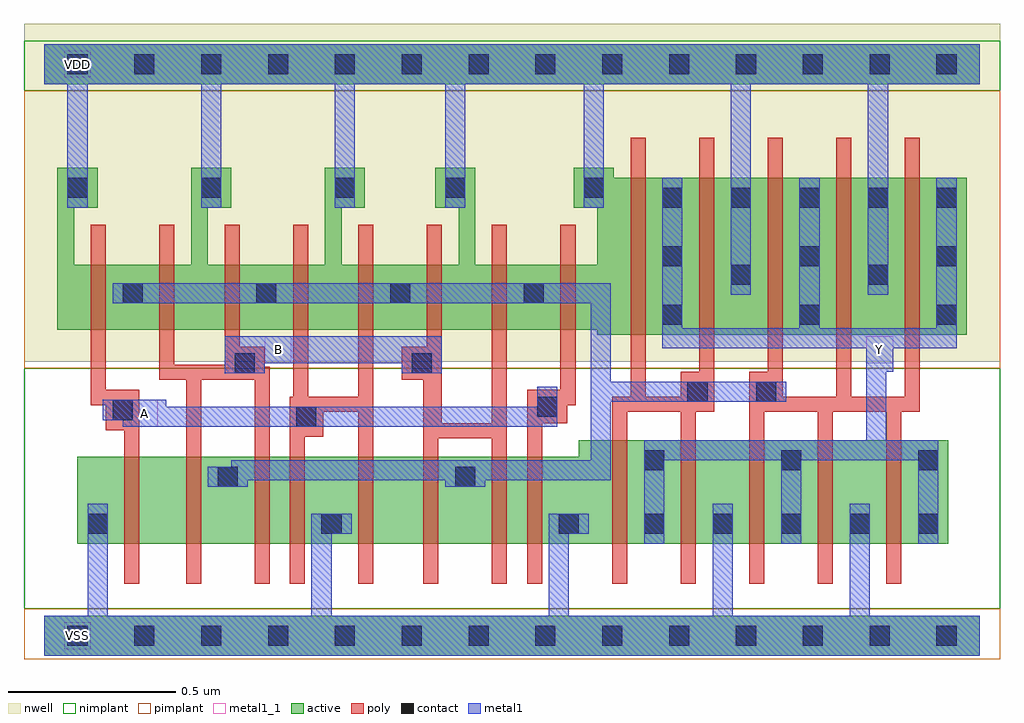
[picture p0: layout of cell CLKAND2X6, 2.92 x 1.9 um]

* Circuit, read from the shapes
.subckt CLKAND2X6 A B VDD VSS Y
M1 n1 A VSS VSS nfet w=0.26u l=0.045u
M2 n2 B n1 VSS nfet w=0.26u l=0.045u
M3 n3 B n2 VSS nfet w=0.26u l=0.045u
M4 VSS A n3 VSS nfet w=0.26u l=0.045u
M5 n4 A VSS VSS nfet w=0.26u l=0.045u
M6 n2 B n4 VSS nfet w=0.26u l=0.045u
M7 n5 B n2 VSS nfet w=0.26u l=0.045u
M8 VSS A n5 VSS nfet w=0.26u l=0.045u
M9 Y n2 VSS VSS nfet w=0.31u l=0.045u m=5
M10 n2 A VDD VDD pfet w=0.195u l=0.045u m=4
M11 VDD B n2 VDD pfet w=0.195u l=0.045u m=4
M12 Y n2 VDD VDD pfet w=0.47u l=0.045u m=5
.ends

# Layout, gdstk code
import gdstk
lib = gdstk.Library(unit=1e-6, precision=5e-10)
def R(c, l, rs):  # rectangles x0, y0, x1, y1
    for r in rs: c.add(gdstk.rectangle(r[:2], r[2:], *l))
def A(c, l, x, y, w, h, nx, ny, dx, dy):  # array of equal rectangles
    R(c, l, [(x+i*dx, y+j*dy, x+i*dx+w, y+j*dy+h) for i in range(nx) for j in range(ny)])
def P(c, l, *ps):  # polygons
    for p in ps: c.add(gdstk.Polygon(p, *l))
active = (1, 0)
nwell = (2, 0)
poly = (3, 0)
nimplant = (4, 0)
pimplant = (5, 0)
contact = (6, 0)
metal1 = (7, 0)
metal1_1 = (7, 1)

clkand2x6 = lib.new_cell('CLKAND2X6')
R(clkand2x6, active, [(0,-0.06,2.8,0.06), (0,1.65,2.8,1.77)])
P(clkand2x6, active, [(0.04,1.4),(0.16,1.4),(0.16,1.28),(0.09,1.28),(0.09,1.11),(0.44,1.11),(0.44,1.4),(0.56,1.4),(0.56,1.28),(0.49,1.28),(0.49,1.11),(0.84,1.11),(0.84,1.4),(0.96,1.4),(0.96,1.28),(0.89,1.28),(0.89,1.11),(1.24,1.11),(1.24,1.28),(1.17,1.28),(1.17,1.4),(1.29,1.4),(1.29,1.11),(1.655,1.11),(1.655,1.28),(1.585,1.28),(1.585,1.4),(1.705,1.4),(1.705,1.37),(2.76,1.37),(2.76,0.9),(1.655,0.9),(1.655,0.915),(0.04,0.915)],
  [(1.6,0.585),(2.705,0.585),(2.705,0.275),(0.1,0.275),(0.1,0.535),(1.6,0.535)])
R(clkand2x6, nwell, [(-0.06,0.82,2.86,1.83)])
P(clkand2x6, poly, [(1.755,1.49),(1.8,1.49),(1.8,0.715),(1.905,0.715),(1.905,0.79),(1.96,0.79),(1.96,1.49),(2.005,1.49),(2.005,0.67),(1.95,0.67),(1.95,0.155),(1.905,0.155),(1.905,0.67),(1.745,0.67),(1.745,0.155),(1.7,0.155),(1.7,0.715),(1.755,0.715)],
  [(2.165,1.49),(2.21,1.49),(2.21,0.715),(2.37,0.715),(2.37,1.49),(2.415,1.49),(2.415,0.715),(2.575,0.715),(2.575,1.49),(2.62,1.49),(2.62,0.67),(2.565,0.67),(2.565,0.155),(2.52,0.155),(2.52,0.67),(2.36,0.67),(2.36,0.155),(2.315,0.155),(2.315,0.67),(2.155,0.67),(2.155,0.155),(2.11,0.155),(2.11,0.79),(2.165,0.79)],
  [(0.14,1.23),(0.185,1.23),(0.185,0.735),(0.285,0.735),(0.285,0.155),(0.24,0.155),(0.24,0.615),(0.185,0.615),(0.185,0.69),(0.14,0.69)],
  [(0.345,1.23),(0.39,1.23),(0.39,0.81),(0.54,0.81),(0.54,1.23),(0.585,1.23),(0.585,0.865),(0.66,0.865),(0.66,0.805),(0.675,0.805),(0.675,0.155),(0.63,0.155),(0.63,0.765),(0.47,0.765),(0.47,0.155),(0.425,0.155),(0.425,0.765),(0.345,0.765)],
  [(0.745,1.23),(0.79,1.23),(0.79,0.715),(0.94,0.715),(0.94,1.23),(0.985,1.23),(0.985,0.155),(0.94,0.155),(0.94,0.67),(0.835,0.67),(0.835,0.595),(0.78,0.595),(0.78,0.155),(0.735,0.155),(0.735,0.715),(0.745,0.715)],
  [(1.145,1.23),(1.19,1.23),(1.19,0.635),(1.34,0.635),(1.34,1.23),(1.385,1.23),(1.385,0.155),(1.34,0.155),(1.34,0.59),(1.18,0.59),(1.18,0.155),(1.135,0.155),(1.135,0.765),(1.07,0.765),(1.07,0.865),(1.145,0.865)],
  [(1.545,1.23),(1.59,1.23),(1.59,0.69),(1.565,0.69),(1.565,0.635),(1.49,0.635),(1.49,0.155),(1.445,0.155),(1.445,0.735),(1.545,0.735)])
R(clkand2x6, nimplant, [(-0.06,0.08,2.86,0.8), (-0.06,1.63,2.86,1.78)])
R(clkand2x6, pimplant, [(-0.06,-0.07,2.86,0.08), (-0.06,0.8,2.86,1.63)])
A(clkand2x6, contact, 0.07, -0.03, 0.06, 0.06, 14, 2, 0.2, 1.71)
A(clkand2x6, contact, 1.795, 0.305, 0.06, 0.06, 5, 1, 0.205, 0)
A(clkand2x6, contact, 1.795, 0.495, 0.06, 0.06, 3, 1, 0.41, 0)
A(clkand2x6, contact, 1.85, 0.93, 0.06, 0.06, 3, 2, 0.41, 0.175)
A(clkand2x6, contact, 0.235, 0.995, 0.06, 0.06, 4, 1, 0.4, 0)
A(clkand2x6, contact, 1.85, 1.28, 0.06, 0.06, 5, 1, 0.205, 0)
A(clkand2x6, contact, 0.07, 1.31, 0.06, 0.06, 3, 1, 0.4, 0)
R(clkand2x6, contact, [(0.13,0.305,0.19,0.365), (0.83,0.305,0.89,0.365), (1.54,0.305,1.6,0.365), (0.52,0.445,0.58,0.505), (1.23,0.445,1.29,0.505), (0.755,0.625,0.815,0.685), (0.205,0.645,0.265,0.705), (1.475,0.655,1.535,0.715), (1.925,0.7,1.985,0.76), (2.13,0.7,2.19,0.76), (0.57,0.785,0.63,0.845), (1.1,0.785,1.16,0.845), (2.055,1.05,2.115,1.11), (2.465,1.05,2.525,1.11), (1.2,1.31,1.26,1.37), (1.615,1.31,1.675,1.37)])
P(clkand2x6, metal1, [(0,1.77),(2.8,1.77),(2.8,1.65),(2.525,1.65),(2.525,1.02),(2.465,1.02),(2.465,1.65),(2.115,1.65),(2.115,1.02),(2.055,1.02),(2.055,1.65),(1.675,1.65),(1.675,1.28),(1.615,1.28),(1.615,1.65),(1.26,1.65),(1.26,1.28),(1.2,1.28),(1.2,1.65),(0.93,1.65),(0.93,1.28),(0.87,1.28),(0.87,1.65),(0.53,1.65),(0.53,1.28),(0.47,1.28),(0.47,1.65),(0.13,1.65),(0.13,1.28),(0.07,1.28),(0.07,1.65),(0,1.65)],
  [(1.85,1.37),(1.91,1.37),(1.91,0.92),(2.26,0.92),(2.26,1.37),(2.32,1.37),(2.32,0.92),(2.67,0.92),(2.67,1.37),(2.73,1.37),(2.73,0.86),(2.54,0.86),(2.54,0.79),(2.52,0.79),(2.52,0.585),(2.675,0.585),(2.675,0.275),(2.615,0.275),(2.615,0.525),(2.265,0.525),(2.265,0.275),(2.205,0.275),(2.205,0.525),(1.855,0.525),(1.855,0.275),(1.795,0.275),(1.795,0.585),(2.46,0.585),(2.46,0.86),(1.85,0.86)],
  [(0.205,1.055),(1.695,1.055),(1.695,0.76),(2.22,0.76),(2.22,0.7),(1.695,0.7),(1.695,0.465),(1.32,0.465),(1.32,0.445),(1.2,0.445),(1.2,0.465),(0.61,0.465),(0.61,0.445),(0.49,0.445),(0.49,0.505),(0.56,0.505),(0.56,0.525),(1.635,0.525),(1.635,0.995),(0.205,0.995)],
  [(0.54,0.895),(1.19,0.895),(1.19,0.785),(1.07,0.785),(1.07,0.815),(0.66,0.815),(0.66,0.785),(0.54,0.785)],
  [(0.175,0.705),(0.365,0.705),(0.365,0.685),(1.475,0.685),(1.475,0.745),(1.535,0.745),(1.535,0.625),(0.235,0.625),(0.235,0.645),(0.175,0.645)],
  [(0.13,0.395),(0.19,0.395),(0.19,0.06),(0.8,0.06),(0.8,0.365),(0.92,0.365),(0.92,0.305),(0.86,0.305),(0.86,0.06),(1.51,0.06),(1.51,0.365),(1.63,0.365),(1.63,0.305),(1.57,0.305),(1.57,0.06),(2,0.06),(2,0.395),(2.06,0.395),(2.06,0.06),(2.41,0.06),(2.41,0.395),(2.47,0.395),(2.47,0.06),(2.8,0.06),(2.8,-0.06),(0,-0.06),(0,0.06),(0.13,0.06)])
R(clkand2x6, metal1_1, [(0.06,-0.04,0.14,0.04), (0.26,0.625,0.34,0.705), (0.66,0.815,0.74,0.895), (2.46,0.815,2.54,0.895), (0.06,1.67,0.14,1.75)])
clkand2x6.add(gdstk.Label('Y', (2.5,0.855), layer=7, texttype=1))
clkand2x6.add(gdstk.Label('B', (0.7,0.855), layer=7, texttype=1))
clkand2x6.add(gdstk.Label('A', (0.3,0.665), layer=7, texttype=1))
clkand2x6.add(gdstk.Label('VDD', (0.1,1.71), layer=7, texttype=1))
clkand2x6.add(gdstk.Label('VSS', (0.1,0), layer=7, texttype=1))
clkand2x6.add(gdstk.Label('CLKAND2X6', (0,0), layer=63, texttype=0))

lib.write_gds('CLKAND2X6.gds')
